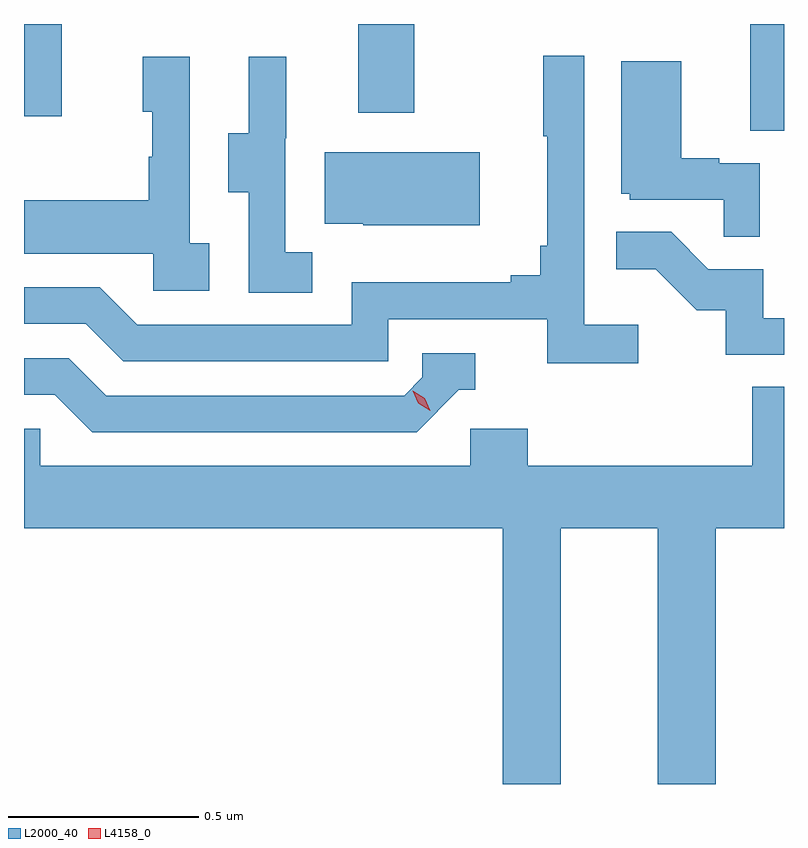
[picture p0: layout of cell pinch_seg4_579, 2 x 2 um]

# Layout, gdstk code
import gdstk
lib = gdstk.Library(unit=1e-6, precision=1e-09)
def R(c, l, rs):  # rectangles x0, y0, x1, y1
    for r in rs: c.add(gdstk.rectangle(r[:2], r[2:], *l))
def P(c, l, *ps):  # polygons
    for p in ps: c.add(gdstk.Polygon(p, *l))
L2000_40 = (2000, 40)
L4158_0 = (4158, 0)

pinch_seg4_579 = lib.new_cell('pinch_seg4_579')
R(pinch_seg4_579, L2000_40, [(1111.403,771.226,1111.492,771.507), (1109.493,771.264,1109.591,771.507), (1110.371,771.273,1110.519,771.507)])
P(pinch_seg4_579, L2000_40, [(1111.108,770.716),(1110.966,770.716),(1110.966,771.424),(1110.858,771.424),(1110.858,771.211),(1110.869,771.211),(1110.869,770.923),(1110.85,770.923),(1110.85,770.846),(1110.773,770.846),(1110.773,770.827),(1110.354,770.827),(1110.354,770.715),(1109.79,770.715),(1109.691,770.814),(1109.492,770.814),(1109.492,770.718),(1109.654,770.718),(1109.753,770.619),(1110.45,770.619),(1110.45,770.73),(1110.869,770.73),(1110.869,770.614),(1111.108,770.614)],
  [(1109.98,770.93),(1109.928,770.93),(1109.928,771.421),(1109.804,771.421),(1109.804,771.276),(1109.83,771.276),(1109.83,771.158),(1109.82,771.158),(1109.82,771.043),(1109.492,771.043),(1109.492,770.903),(1109.832,770.903),(1109.832,770.805),(1109.98,770.805)],
  [(1110.25,770.907),(1110.18,770.907),(1110.18,771.207),(1110.182,771.207),(1110.182,771.421),(1110.083,771.421),(1110.083,771.219),(1110.029,771.219),(1110.029,771.064),(1110.084,771.064),(1110.084,770.8),(1110.25,770.8)],
  [(1111.428,771.141),(1111.322,771.141),(1111.322,771.154),(1111.222,771.154),(1111.222,771.409),(1111.064,771.409),(1111.064,771.06),(1111.086,771.06),(1111.086,771.045),(1111.333,771.045),(1111.333,770.947),(1111.428,770.947)],
  [(1110.691,771.169),(1110.283,771.169),(1110.283,770.981),(1110.385,770.981),(1110.385,770.978),(1110.691,770.978)],
  [(1111.492,770.733),(1111.437,770.733),(1111.437,770.862),(1111.293,770.862),(1111.195,770.96),(1111.051,770.96),(1111.051,770.861),(1111.155,770.861),(1111.262,770.754),(1111.339,770.754),(1111.339,770.637),(1111.492,770.637)],
  [(1110.636,770.544),(1110.679,770.544),(1110.679,770.64),(1110.54,770.64),(1110.54,770.577),(1110.492,770.529),(1109.709,770.529),(1109.61,770.628),(1109.492,770.628),(1109.492,770.532),(1109.573,770.532),(1109.672,770.433),(1110.525,770.433)],
  [(1110.904,770.18),(1111.16,770.18),(1111.16,769.507),(1111.313,769.507),(1111.313,770.18),(1111.492,770.18),(1111.492,770.552),(1111.409,770.552),(1111.409,770.344),(1110.818,770.344),(1110.818,770.442),(1110.666,770.442),(1110.666,770.344),(1109.535,770.344),(1109.535,770.442),(1109.492,770.442),(1109.492,770.18),(1110.752,770.18),(1110.752,769.507),(1110.904,769.507)])
P(pinch_seg4_579, L4158_0, [(1110.561,770.489),(1110.53,770.509),(1110.515,770.542),(1110.515,770.542),(1110.515,770.542),(1110.546,770.522),(1110.561,770.489),(1110.561,770.489)])

lib.write_gds('pinch_seg4_579.gds')
